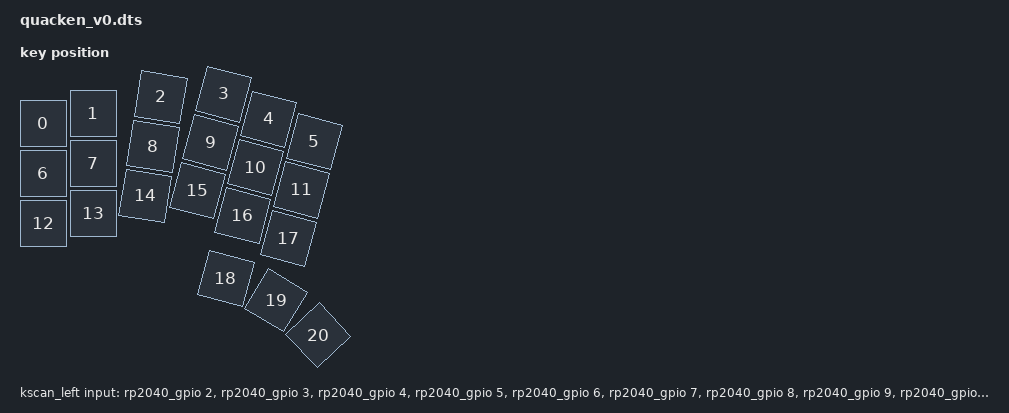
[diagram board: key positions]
/dts-v1/;

#include <rpi_pico/rp2040.dtsi>
#include <dt-bindings/zmk/matrix_transform.h>
#include <physical_layouts.dtsi>

#define K(x) RC(0, x)

/ {
    chosen {
        zephyr,sram = &sram0;
        zephyr,flash = &flash0;
        zephyr,code-partition = &code_partition;
    };

    default_transform: keymap_transform0 {
        compatible = "zmk,matrix-transform";
        columns = <21>;
        rows = <1>;
        map = <
            K(20) K(17) K(14) K(11) K(8) K(5)
            K(19) K(16) K(13) K(10) K(7) K(4)
            K(18) K(15) K(12) K( 9) K(6) K(3)
                               K(2) K(1) K(0)
        >;
    };

    // Median positions have no effects on the gpio used for the key
    kscan_left: kscan {
        compatible = "zmk,kscan-gpio-direct";
        wakeup-source;
        input-gpios
            // Thumb (Tucked / Home / Reachy)
            = <&rp2040_gpio  2 (GPIO_ACTIVE_LOW | GPIO_PULL_UP)>
            , <&rp2040_gpio  3 (GPIO_ACTIVE_LOW | GPIO_PULL_UP)>
            , <&rp2040_gpio  4 (GPIO_ACTIVE_LOW | GPIO_PULL_UP)>

            // Inner (Bottom / Home / Top)
            , <&rp2040_gpio  5 (GPIO_ACTIVE_LOW | GPIO_PULL_UP)>
            , <&rp2040_gpio  6 (GPIO_ACTIVE_LOW | GPIO_PULL_UP)>
            , <&rp2040_gpio  7 (GPIO_ACTIVE_LOW | GPIO_PULL_UP)>

            // Index (Bottom / Home / Top)
            , <&rp2040_gpio  8 (GPIO_ACTIVE_LOW | GPIO_PULL_UP)>
            , <&rp2040_gpio  9 (GPIO_ACTIVE_LOW | GPIO_PULL_UP)>
            , <&rp2040_gpio 10 (GPIO_ACTIVE_LOW | GPIO_PULL_UP)>

            // Middle (Bottom / Home / Top)
            , <&rp2040_gpio 11 (GPIO_ACTIVE_LOW | GPIO_PULL_UP)>
            , <&rp2040_gpio 12 (GPIO_ACTIVE_LOW | GPIO_PULL_UP)>
            , <&rp2040_gpio 13 (GPIO_ACTIVE_LOW | GPIO_PULL_UP)>

            // Ring (Bottom / Home / Top)
            , <&rp2040_gpio 14 (GPIO_ACTIVE_LOW | GPIO_PULL_UP)>
            , <&rp2040_gpio 15 (GPIO_ACTIVE_LOW | GPIO_PULL_UP)>
            , <&rp2040_gpio 16 (GPIO_ACTIVE_LOW | GPIO_PULL_UP)>

            // Pincky (Bottom / Home / Top)
            , <&rp2040_gpio 17 (GPIO_ACTIVE_LOW | GPIO_PULL_UP)>
            , <&rp2040_gpio 18 (GPIO_ACTIVE_LOW | GPIO_PULL_UP)>
            , <&rp2040_gpio 19 (GPIO_ACTIVE_LOW | GPIO_PULL_UP)>

            // Outer (Bottom / Home / Top)
            , <&rp2040_gpio 20 (GPIO_ACTIVE_LOW | GPIO_PULL_UP)>
            , <&rp2040_gpio 21 (GPIO_ACTIVE_LOW | GPIO_PULL_UP)>
            , <&rp2040_gpio 22 (GPIO_ACTIVE_LOW | GPIO_PULL_UP)>
            ;
    };

    physical_layout0: physical_layout_0 { // First physical layout, use different naming for other layouts
        compatible = "zmk,physical-layout";
        display-name = "Default Layout";
        kscan = <&kscan_left>; // Label of the kscan node, optional if all layouts use the same
        transform = <&default_transform>; // Label of the matrix transform for this layout
        keys  //                     w   h    x    y     rot    rx    ry
            = <&key_physical_attrs 100 100    0  115      0      0     0>
            , <&key_physical_attrs 100 100  100   95      0      0     0>
            , <&key_physical_attrs 100 100  200   35    900    100   325>
            , <&key_physical_attrs 100 100  300    0   1500    170   310>
            , <&key_physical_attrs 100 100  400   25   1500    170   310>
            , <&key_physical_attrs 100 100  500   45   1500    170   310>

            , <&key_physical_attrs 100 100    0  215      0      0     0>
            , <&key_physical_attrs 100 100  100  195      0      0     0>
            , <&key_physical_attrs 100 100  200  135    900    100   325>
            , <&key_physical_attrs 100 100  300  100   1500    170   310>
            , <&key_physical_attrs 100 100  400  125   1500    170   310>
            , <&key_physical_attrs 100 100  500  145   1500    170   310>

            , <&key_physical_attrs 100 100    0  315      0      0     0>
            , <&key_physical_attrs 100 100  100  295      0      0     0>
            , <&key_physical_attrs 100 100  200  235    900    100   325>
            , <&key_physical_attrs 100 100  300  200   1500    170   310>
            , <&key_physical_attrs 100 100  400  225   1500    170   310>
            , <&key_physical_attrs 100 100  500  245   1500    170   310>

            , <&key_physical_attrs 100 100  400  355   1500    170   310>
            , <&key_physical_attrs 100 100  500  355   3100    330   400>
            , <&key_physical_attrs 100 100  600  355   4700    415   440>
            ;
    };

    xtal_clk: xtal-clk {
        compatible = "fixed-clock";
        clock-frequency = <12000000>;
        #clock-cells = <0>;
    };
};

rp2040_gpio: &gpio0 {
    status = "okay";
};

zephyr_udc0: &usbd {
  status = "okay";
};

&flash0 {
    // XXX: The flash memory used (W25Q128JV) is a 128M-bit memory. I’ll *assume*
    // that `DT_SIZE_M` is in bytes, but if not we may not fully utilise the
    // flash memory on board.
    // (To be fair, worst case senario this is 16M-bit = 2M-byte, and if you
    // need more than that you’re probably doing something you shouldn’t)
    reg = <0x10000000 DT_SIZE_M(16)>;

    partitions {
        compatible = "fixed-partitions";
        #address-cells = <1>;
        #size-cells = <1>;

        /* Reserved memory for the second stage bootloader */
        second_stage_bootloader: partition@0 {
            reg = <0x00000000 0x100>;
            read-only;
        };

        /*
         * Usable flash. Starts at 0x100, after the bootloader. The partition
         * size is 16MB minus the 0x100 bytes taken by the bootloader.
         */
        code_partition: partition@100 {
            reg = <0x100 (DT_SIZE_M(16) - 0x100)>;
            read-only;
        };
    };
};

#undef K
